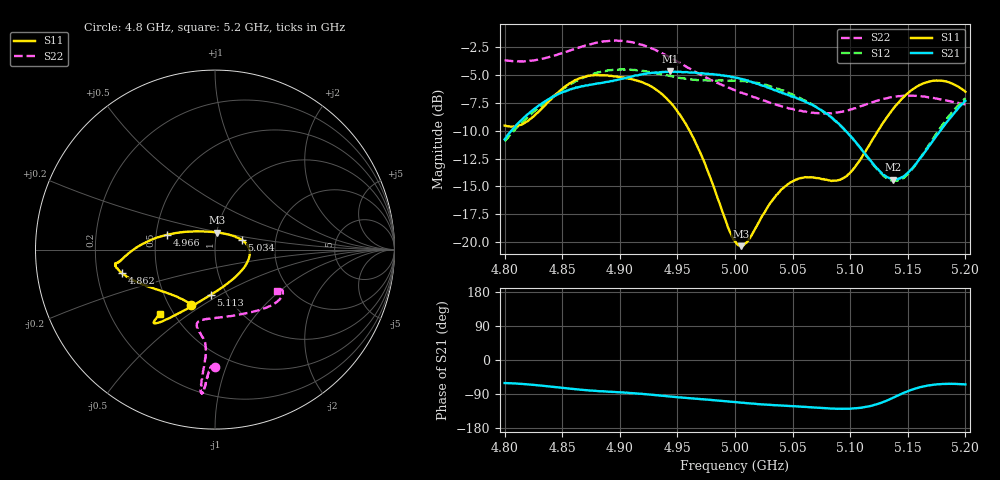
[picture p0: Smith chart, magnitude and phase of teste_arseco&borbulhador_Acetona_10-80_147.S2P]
! Network Analyzer HP8722D
! Hewlett-Packard
! Data name: Linha & Wilkinson
! Saver's name: Rodrigo Anjos
! Comments: Teste da utilização de aquisição
! continua pelo VNA HP8722D
! Time and date: 17/4/2025 15:35
!  Frequency  S11  S21  S12  S22
# HZ  S  MA R 50
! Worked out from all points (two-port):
!   401 points, 4.8 GHz to 5.2 GHz, reference 50 ohm
!   highest |S21| = -4.66 dB at 4.944 GHz (marker M1); lowest = -14.4 dB at 5.137 GHz (marker M2)
!   |S21| within 3 dB of the highest: 4.831 GHz to 5.067 GHz (236.4 MHz wide, 4.78 % of centre); 5.196631 GHz to end of sweep
!   lowest |S11| = -20.4 dB at 5.005 GHz (marker M3), VSWR 1.21, Z = 50.2 + j9.63 ohm
!   |S11| at or under -10 dB: 4.961 GHz to 5.124 GHz (163.5 MHz wide, 3.24 % of centre)
!   |S22| runs from -8.5 to -1.9 dB; largest |S21 - S12| = 0.87
!   S11 on the Smith chart (normalised r, x): 4.8 GHz: 0.64, -0.44; 4.862 GHz: 0.31, -0.11; 4.966 GHz: 0.57, +0.10; 5.034 GHz: 1.34, +0.15; 5.113 GHz: 0.84, -0.45; 5.2 GHz: 0.42, -0.39
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4.8e9  0.3337 -113.5  0.2892 -60.8  0.2836 -175.0  0.6557 -90.1
4.819e9  0.3473 -133.4  0.371 -64.1  0.3595 -173.7  0.6506 -91.6
4.862e9  0.536 -165.9  0.4961 -77.1  0.5294 -177.0  0.7415 -93.9
4.867e9  0.5485 -167.8  0.5023 -78.7  0.5443 -177.9  0.756 -94.1
4.898e9  0.5532 -172.2  0.5357 -84.9  0.5949 175.8  0.8027 -95.3
4.934e9  0.4741 -178.2  0.578 -93.7  0.5707 171.7  0.7173 -95.7
4.944e9  0.4236 177.3  0.5845 -96.4  0.5566 171.8  0.6755 -95.5
4.966e9  0.2787 162.7  0.5762 -102.1  0.5359 173.8  0.5804 -95.1
5e9  0.1009 101.0  0.5487 -111.2  0.5321 176.2  0.4805 -99.2
5.005e9  0.09571 83.5  0.5403 -112.5  0.5287 176.2  0.469 -100.3
5.012e9  0.1026 60.3  0.5283 -114.3  0.5241 175.9  0.4572 -101.8
5.034e9  0.1574 20.2  0.4818 -119.2  0.4947 174.8  0.4164 -103.3
5.05e9  0.1873 4.0  0.451 -122.0  0.4591 174.2  0.3964 -99.3
5.067e9  0.1949 -14.2  0.4139 -125.1  0.4158 173.7  0.3812 -90.7
5.093e9  0.1926 -58.4  0.3282 -128.8  0.3276 174.0  0.3847 -70.5
5.113e9  0.2541 -95.6  0.2486 -124.3  0.2484 -179.8  0.4142 -54.9
5.134e9  0.3768 -116.6  0.1937 -104.1  0.1903 -157.0  0.4462 -43.0
5.137e9  0.3946 -118.3  0.1909 -100.1  0.1886 -152.2  0.4489 -41.7
5.15e9  0.4663 -124.3  0.2045 -82.4  0.2014 -132.0  0.455 -36.7
5.168e9  0.5251 -128.6  0.2681 -67.3  0.2718 -113.6  0.4464 -32.3
5.184e9  0.5253 -130.2  0.3469 -63.1  0.3587 -107.3  0.4321 -31.0
5.2e9  0.4737 -130.6  0.431 -64.4  0.4434 -106.5  0.415 -33.4
